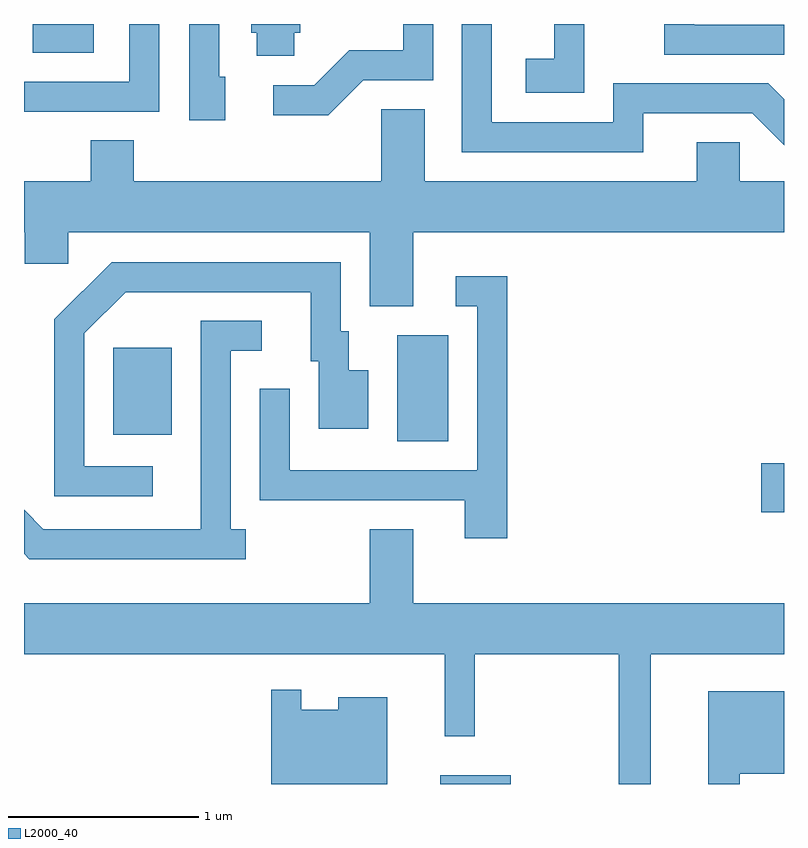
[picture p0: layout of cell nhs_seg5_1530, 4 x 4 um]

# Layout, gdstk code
import gdstk
lib = gdstk.Library(unit=1e-6, precision=1e-09)
def R(c, l, rs):  # rectangles x0, y0, x1, y1
    for r in rs: c.add(gdstk.rectangle(r[:2], r[2:], *l))
def P(c, l, *ps):  # polygons
    for p in ps: c.add(gdstk.Polygon(p, *l))
L2000_40 = (2000, 40)

nhs_seg5_1530 = lib.new_cell('nhs_seg5_1530')
R(nhs_seg5_1530, L2000_40, [(231.801,1496.072,232.174,1496.119), (233.491,1497.501,233.611,1497.759), (231.576,1497.876,231.844,1498.434), (230.081,1497.911,230.389,1498.369), (229.656,1499.921,229.979,1500.072)])
P(nhs_seg5_1530, L2000_40, [(233.611,1500.069),(233.139,1500.069),(233.139,1500.072),(232.981,1500.072),(232.981,1499.911),(233.611,1499.911)],
  [(232.559,1500.072),(232.401,1500.072),(232.401,1499.889),(232.251,1499.889),(232.251,1499.711),(232.559,1499.711)],
  [(231.397,1499.776),(231.764,1499.776),(231.764,1500.072),(231.606,1500.072),(231.606,1499.934),(231.324,1499.934),(231.139,1499.749),(230.923,1499.749),(230.923,1499.591),(231.212,1499.591)],
  [(230.669,1499.794),(230.639,1499.794),(230.639,1500.072),(230.481,1500.072),(230.481,1499.566),(230.669,1499.566)],
  [(231.034,1500.026),(231.064,1500.026),(231.064,1500.072),(230.806,1500.072),(230.806,1500.026),(230.836,1500.026),(230.836,1499.906),(231.034,1499.906)],
  [(230.324,1500.072),(230.166,1500.072),(230.166,1499.769),(229.611,1499.769),(229.611,1499.611),(230.324,1499.611)],
  [(232.869,1499.601),(233.444,1499.601),(233.611,1499.434),(233.611,1499.675),(233.527,1499.759),(232.711,1499.759),(232.711,1499.554),(232.074,1499.554),(232.074,1500.072),(231.916,1500.072),(231.916,1499.396),(232.869,1499.396)],
  [(231.659,1498.976),(233.611,1498.976),(233.611,1499.244),(233.379,1499.244),(233.379,1499.449),(233.151,1499.449),(233.151,1499.244),(231.719,1499.244),(231.719,1499.624),(231.491,1499.624),(231.491,1499.244),(230.189,1499.244),(230.189,1499.459),(229.961,1499.459),(229.961,1499.244),(229.611,1499.244),(229.611,1498.976),(229.616,1498.976),(229.616,1498.811),(229.844,1498.811),(229.844,1498.976),(231.431,1498.976),(231.431,1498.586),(231.659,1498.586)],
  [(230.288,1497.744),(229.929,1497.744),(229.929,1498.444),(230.147,1498.661),(231.121,1498.661),(231.121,1498.296),(231.161,1498.296),(231.161,1497.941),(231.424,1497.941),(231.424,1498.249),(231.319,1498.249),(231.319,1498.454),(231.279,1498.454),(231.279,1498.819),(230.074,1498.819),(229.771,1498.517),(229.771,1497.586),(230.288,1497.586)],
  [(232.154,1498.744),(231.883,1498.744),(231.883,1498.586),(231.996,1498.586),(231.996,1497.724),(231.009,1497.724),(231.009,1498.153),(230.851,1498.153),(230.851,1497.566),(231.931,1497.566),(231.931,1497.366),(232.154,1497.366)],
  [(230.778,1497.414),(230.699,1497.414),(230.699,1498.351),(230.863,1498.351),(230.863,1498.509),(230.541,1498.509),(230.541,1497.414),(229.712,1497.414),(229.611,1497.515),(229.611,1497.284),(229.639,1497.256),(230.778,1497.256)],
  [(232.909,1496.756),(233.611,1496.756),(233.611,1497.024),(231.659,1497.024),(231.659,1497.414),(231.431,1497.414),(231.431,1497.024),(229.611,1497.024),(229.611,1496.756),(231.826,1496.756),(231.826,1496.323),(231.984,1496.323),(231.984,1496.756),(232.741,1496.756),(232.741,1496.072),(232.909,1496.072)],
  [(231.524,1496.529),(231.266,1496.529),(231.266,1496.464),(231.069,1496.464),(231.069,1496.568),(230.911,1496.568),(230.911,1496.072),(231.524,1496.072)],
  [(233.379,1496.126),(233.611,1496.126),(233.611,1496.559),(233.211,1496.559),(233.211,1496.072),(233.379,1496.072)])

lib.write_gds('nhs_seg5_1530.gds')
